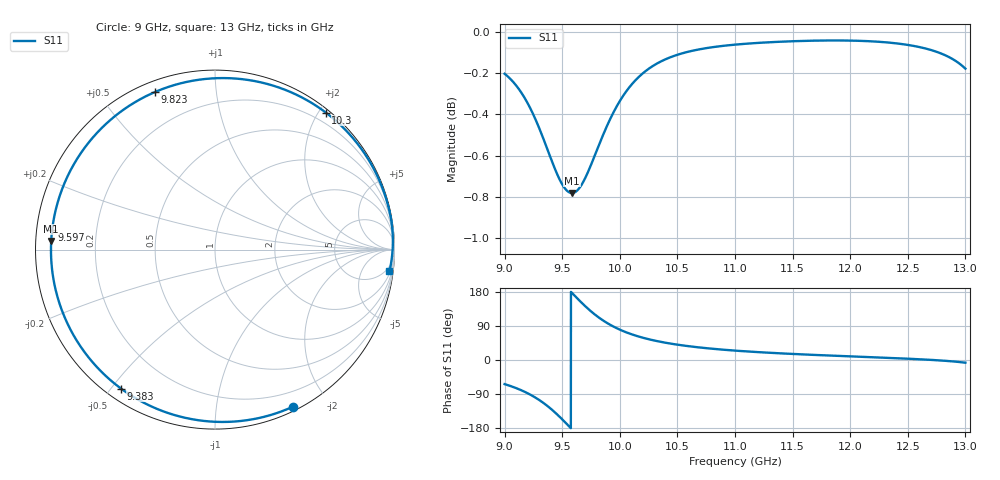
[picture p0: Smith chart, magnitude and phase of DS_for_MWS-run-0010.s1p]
! TOUCHSTONE file generated by CST DESIGN STUDIO
! Date and time: Tue Feb  4 15:57:28 2025
! Project name: C:\Work\MatlabApps\UnitCellOptimizationMatlab\CST\unitcell.cst
! Tree item: Tasks\Sweep1\SPara1\S-Parameters
! Header version: 2024
! Port assignment regex: !\s*Touchstone port\s*([0-9]+)\s*=\s*(CST MWS port|CST DES external port|CST DES block port)\s*(.+)\s* \(\"(.*)\"\)(\s*mode\s*([0-9]+))?.*
! Touchstone port assignment:
! Touchstone port 1 = CST DES external port 1 ("")
# GHz S MA R 50
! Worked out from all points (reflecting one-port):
!   4001 points, 9 GHz to 13 GHz, reference 50 ohm
!   lowest |S11| = -0.8 dB at 9.585 GHz (marker M1), VSWR 22.22, Z = 2.25 + j1.33 ohm
!   phase of S11 starts at -64 deg and turns -303 deg over the sweep
!   S11 on the Smith chart (normalised r, x): 9 GHz: 0.04, -1.61; 9.383 GHz: 0.04, -0.53; 9.597 GHz: 0.05, +0.06; 9.823 GHz: 0.05, +0.69; 10.3 GHz: 0.05, +2.09; 13 GHz: 3, -16
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9  0.977 -63.7
9.047  0.9743 -68.3
9.115  0.9694 -76.0
9.232  0.9571 -92.9
9.312  0.9459 -107.9
9.383  0.9347 -124.1
9.44  0.9259 -139.1
9.5  0.9183 -156.5
9.543  0.915 -169.8
9.585  0.9138 176.9
9.597  0.9139 173.2
9.652  0.9167 156.1
9.715  0.9235 137.8
9.768  0.931 123.8
9.823  0.9394 111.0
9.903  0.9508 95.2
10  0.9621 80.1
10.068  0.9684 71.6
10.141  0.9737 64.0
10.305  0.9819 51.0
10.5  0.9874 40.5
10.72  0.9907 32.2
11  0.993 24.8
11.5  0.9949 16.0
12  0.9953 9.6
12.5  0.9929 3.4
12.79  0.9881 -1.4
13  0.9798 -7.1
